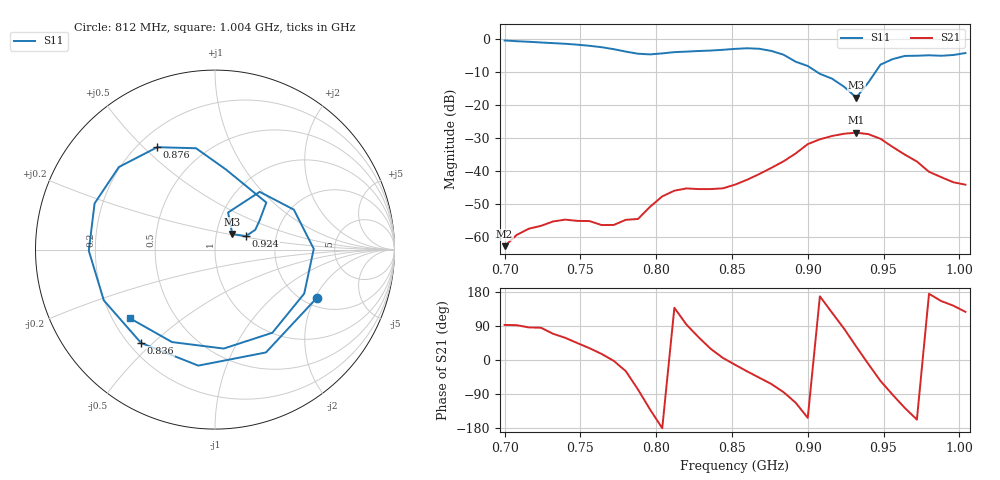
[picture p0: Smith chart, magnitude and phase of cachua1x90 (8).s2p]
# Hz S RI R 50
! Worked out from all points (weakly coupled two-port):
!   39 points, 700 MHz to 1.004 GHz, reference 50 ohm
!   highest |S21| = -28.36 dB at 932 MHz (marker M1); lowest = -62.6 dB at 700 MHz (marker M2)
!   lowest |S11| = -17.8 dB at 932 MHz (marker M3), VSWR 1.30, Z = 59.7 + j10.5 ohm
!   |S11| at or under -10 dB: 906 MHz to 944.7 MHz (38.74 MHz wide, 4.19 % of centre)
!   S12 and S22 are empty: the file has one direction only
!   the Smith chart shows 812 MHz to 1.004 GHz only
!   S11 on the Smith chart (normalised r, x): 812 MHz: 2.34, -2.07; 836 MHz: 0.25, -0.46; 876 MHz: 0.28, +0.55; 924 MHz: 1.40, +0.22; 1.004 GHz: 0.27, -0.33
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7e8  0.7592 0.5584  -3.33e-05 0.000737  0 0  0 0
7.24e8  0.8445 -0.2422  0.000128 0.00149  0 0  0 0
7.4e8  0.458 -0.7039  0.00097 0.00159  0 0  0 0
7.56e8  -0.1888 -0.76  0.00151 0.000913  0 0  0 0
7.72e8  -0.6658 -0.2027  0.00154 -6.1e-05  0 0  0 0
7.8e8  -0.6015 0.2174  0.0016 -0.000913  0 0  0 0
7.88e8  -0.2617 0.5332  0.0004 -0.00186  0 0  0 0
7.96e8  0.2301 0.5331  -0.0019 -0.0022  0 0  0 0
8.04e8  0.5689 0.1936  -0.00417 -6.18e-06  0 0  0 0
8.12e8  0.5675 -0.2688  -0.00376 0.00341  0 0  0 0
8.2e8  0.2838 -0.573  -0.000313 0.00549  0 0  0 0
8.36e8  -0.4117 -0.5203  0.00468 0.00264  0 0  0 0
8.52e8  -0.7032 -0.00636  0.00612 -0.00135  0 0  0 0
8.76e8  -0.3217 0.5705  0.00504 -0.01  0 0  0 0
9e8  0.2859 0.2623  -0.0228 -0.0118  0 0  0 0
9.08e8  0.2478 0.1607  -0.0297 0.00624  0 0  0 0
9.24e8  0.1727 0.0753  0.00489 0.0365  0 0  0 0
9.32e8  0.0965 0.0865  0.0312 0.022  0 0  0 0
9.56e8  0.4392 0.2227  -0.000682 -0.0232  0 0  0 0
9.64e8  0.5502 0.00416  -0.0106 -0.0144  0 0  0 0
9.8e8  0.3197 -0.4632  -0.00976 0.000893  0 0  0 0
1.004e9  -0.4719 -0.3838  -0.00377 0.00499  0 0  0 0
